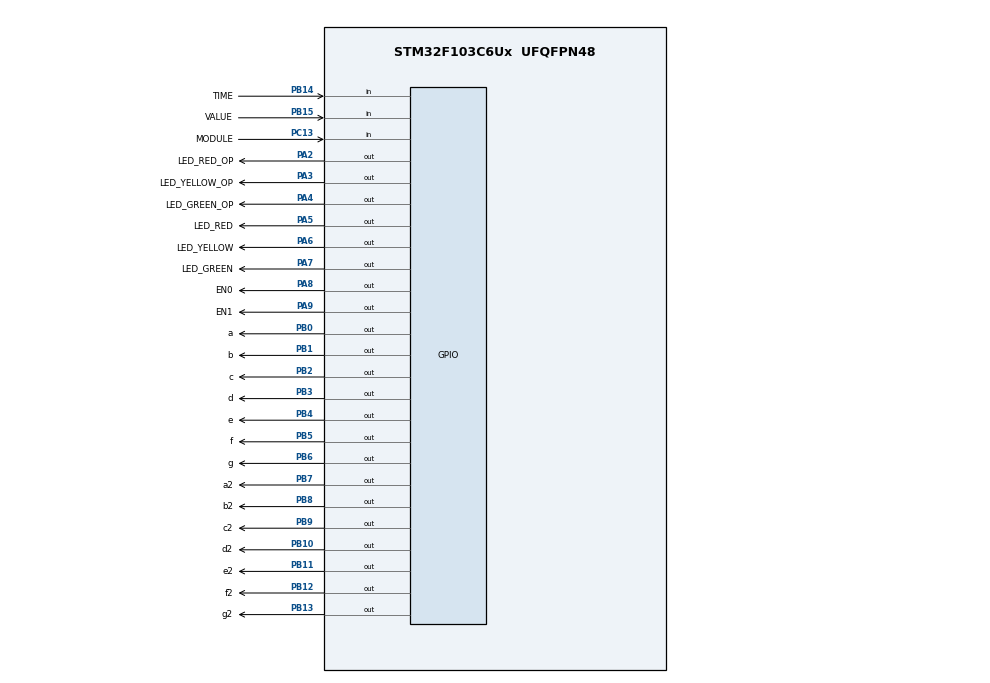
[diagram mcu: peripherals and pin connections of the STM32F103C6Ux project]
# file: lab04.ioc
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Mcu.Family=STM32F1
Mcu.Name=STM32F103C6Ux
Mcu.Package=UFQFPN48
NVIC.PriorityGroup=NVIC_PRIORITYGROUP_4
NVIC.TIM2_IRQn=true\:0\:0\:false\:false\:true\:true\:true\:true
PA2.GPIO_Label=LED_RED_OP
PA2.Signal=GPIO_Output
PA3.GPIO_Label=LED_YELLOW_OP
PA3.Signal=GPIO_Output
PA4.GPIO_Label=LED_GREEN_OP
PA4.Signal=GPIO_Output
PA5.GPIO_Label=LED_RED
PA5.Signal=GPIO_Output
PA6.GPIO_Label=LED_YELLOW
PA6.Signal=GPIO_Output
PA7.GPIO_Label=LED_GREEN
PA7.Signal=GPIO_Output
PA8.GPIO_Label=EN0
PA8.Signal=GPIO_Output
PA9.GPIO_Label=EN1
PA9.Signal=GPIO_Output
PB0.GPIO_Label=a
PB0.Signal=GPIO_Output
PB1.GPIO_Label=b
PB1.Signal=GPIO_Output
PB10.GPIO_Label=d2
PB10.Signal=GPIO_Output
PB11.GPIO_Label=e2
PB11.Signal=GPIO_Output
PB12.GPIO_Label=f2
PB12.Signal=GPIO_Output
PB13.GPIO_Label=g2
PB13.Signal=GPIO_Output
PB14.GPIO_Label=TIME
PB14.GPIO_PuPd=GPIO_PULLUP
PB14.Signal=GPIO_Input
PB15.GPIO_Label=VALUE
PB15.GPIO_PuPd=GPIO_PULLUP
PB15.Signal=GPIO_Input
PB2.GPIO_Label=c
PB2.Signal=GPIO_Output
PB3.GPIO_Label=d
PB3.Signal=GPIO_Output
PB4.GPIO_Label=e
PB4.Signal=GPIO_Output
PB5.GPIO_Label=f
PB5.Signal=GPIO_Output
PB6.GPIO_Label=g
PB6.Signal=GPIO_Output
PB7.GPIO_Label=a2
PB7.Signal=GPIO_Output
PB8.GPIO_Label=b2
PB8.Signal=GPIO_Output
PB9.GPIO_Label=c2
PB9.Signal=GPIO_Output
PC13-TAMPER-RTC.GPIO_Label=MODULE
PC13-TAMPER-RTC.GPIO_PuPd=GPIO_PULLUP
PC13-TAMPER-RTC.Signal=GPIO_Input
ProjectManager.HeapSize=0x200
ProjectManager.StackSize=0x400
ProjectManager.TargetToolchain=STM32CubeIDE
RCC.APB1Freq_Value=8000000
RCC.APB2Freq_Value=8000000
TIM2.Period=9
TIM2.Prescaler=7999
VP_SYS_VS_ND.Mode=No_Debug
VP_TIM2_VS_ClockSourceINT.Mode=Internal
board=custom

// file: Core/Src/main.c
/* USER CODE BEGIN Header */
/**
  ******************************************************************************
  * @file           : main.c
  * @brief          : Main program body
  ******************************************************************************
  * @attention
  *
  * Copyright (c) 2024 STMicroelectronics.
  * All rights reserved.
  *
  * This software is licensed under terms that can be found in the LICENSE file
  * in the root directory of this software component.
  * If no LICENSE file comes with this software, it is provided AS-IS.
  *
  ******************************************************************************
  */
/* USER CODE END Header */
#include "main.h"

/* USER CODE BEGIN Includes */
#include "software_timer.h"
#include "button.h"
#include "fsm_traffic_light.h"
#include "LED7SEG.h"
#include "schedular.h"

/* USER CODE END Includes */

TIM_HandleTypeDef htim2;

void SystemClock_Config(void);
static void MX_GPIO_Init(void);
static void MX_TIM2_Init(void);

/* USER CODE BEGIN 0 */
void task0(void) {
	updateClockBuffer();
	fsm_traffic_light_run();
}

void task1(void) {
	update7SEG(index_led);
	++index_led;
	if (index_led > 1) {
		index_led = 0;
	}
}

/* USER CODE END 0 */

int main(void)
{

  /* MCU Configuration--------------------------------------------------------*/

  /* Reset of all peripherals, Initializes the Flash interface and the Systick. */
  HAL_Init();

  /* Configure the system clock */
  SystemClock_Config();

  /* Initialize all configured peripherals */
  MX_GPIO_Init();
  MX_TIM2_Init();
  /* USER CODE BEGIN 2 */
  HAL_TIM_Base_Start_IT(&htim2);

  /* USER CODE END 2 */

  /* Infinite loop */
  /* USER CODE BEGIN WHILE */
  SCH_Add_Task(timerRun, 0, TICK);
  SCH_Add_Task(getKeyInput, 0, TICK);

  status = INIT;
  SCH_Add_Task(updateClockBuffer, 0, TICK);
  SCH_Add_Task(fsm_traffic_light_run, 0, TICK);
  SCH_Add_Task(task1, 0, 100);
  while (1)
  {
	  SCH_Dispatch_Tasks();
    /* USER CODE END WHILE */

  }
}

void SystemClock_Config(void)
{
  RCC_OscInitTypeDef RCC_OscInitStruct = {0};
  RCC_ClkInitTypeDef RCC_ClkInitStruct = {0};

  /** Initializes the RCC Oscillators according to the specified parameters
  * in the RCC_OscInitTypeDef structure.
  */
  RCC_OscInitStruct.OscillatorType = RCC_OSCILLATORTYPE_HSI;
  RCC_OscInitStruct.HSIState = RCC_HSI_ON;
  RCC_OscInitStruct.HSICalibrationValue = RCC_HSICALIBRATION_DEFAULT;
  RCC_OscInitStruct.PLL.PLLState = RCC_PLL_NONE;
  if (HAL_RCC_OscConfig(&RCC_OscInitStruct) != HAL_OK)
  {
    Error_Handler();
  }

  /** Initializes the CPU, AHB and APB buses clocks
  */
  RCC_ClkInitStruct.ClockType = RCC_CLOCKTYPE_HCLK|RCC_CLOCKTYPE_SYSCLK
                              |RCC_CLOCKTYPE_PCLK1|RCC_CLOCKTYPE_PCLK2;
  RCC_ClkInitStruct.SYSCLKSource = RCC_SYSCLKSOURCE_HSI;
  RCC_ClkInitStruct.AHBCLKDivider = RCC_SYSCLK_DIV1;
  RCC_ClkInitStruct.APB1CLKDivider = RCC_HCLK_DIV1;
  RCC_ClkInitStruct.APB2CLKDivider = RCC_HCLK_DIV1;

  if (HAL_RCC_ClockConfig(&RCC_ClkInitStruct, FLASH_LATENCY_0) != HAL_OK)
  {
    Error_Handler();
  }
}

static void MX_TIM2_Init(void)
{

  TIM_ClockConfigTypeDef sClockSourceConfig = {0};
  TIM_MasterConfigTypeDef sMasterConfig = {0};

  htim2.Instance = TIM2;
  htim2.Init.Prescaler = 7999;
  htim2.Init.CounterMode = TIM_COUNTERMODE_UP;
  htim2.Init.Period = 9;
  htim2.Init.ClockDivision = TIM_CLOCKDIVISION_DIV1;
  htim2.Init.AutoReloadPreload = TIM_AUTORELOAD_PRELOAD_DISABLE;
  if (HAL_TIM_Base_Init(&htim2) != HAL_OK)
  {
    Error_Handler();
  }
  sClockSourceConfig.ClockSource = TIM_CLOCKSOURCE_INTERNAL;
  if (HAL_TIM_ConfigClockSource(&htim2, &sClockSourceConfig) != HAL_OK)
  {
    Error_Handler();
  }
  sMasterConfig.MasterOutputTrigger = TIM_TRGO_RESET;
  sMasterConfig.MasterSlaveMode = TIM_MASTERSLAVEMODE_DISABLE;
  if (HAL_TIMEx_MasterConfigSynchronization(&htim2, &sMasterConfig) != HAL_OK)
  {
    Error_Handler();
  }

}

static void MX_GPIO_Init(void)
{
  GPIO_InitTypeDef GPIO_InitStruct = {0};

  /* GPIO Ports Clock Enable */
  __HAL_RCC_GPIOC_CLK_ENABLE();
  __HAL_RCC_GPIOA_CLK_ENABLE();
  __HAL_RCC_GPIOB_CLK_ENABLE();

  /*Configure GPIO pin Output Level */
  HAL_GPIO_WritePin(GPIOA, LED_RED_OP_Pin|LED_YELLOW_OP_Pin|LED_GREEN_OP_Pin|LED_RED_Pin
                          |LED_YELLOW_Pin|LED_GREEN_Pin|EN0_Pin|EN1_Pin, GPIO_PIN_RESET);

  /*Configure GPIO pin Output Level */
  HAL_GPIO_WritePin(GPIOB, a_Pin|b_Pin|c_Pin|d2_Pin
                          |e2_Pin|f2_Pin|g2_Pin|d_Pin
                          |e_Pin|f_Pin|g_Pin|a2_Pin
                          |b2_Pin|c2_Pin, GPIO_PIN_RESET);

  /*Configure GPIO pin : MODULE_Pin */
  GPIO_InitStruct.Pin = MODULE_Pin;
  GPIO_InitStruct.Mode = GPIO_MODE_INPUT;
  GPIO_InitStruct.Pull = GPIO_PULLUP;
  HAL_GPIO_Init(MODULE_GPIO_Port, &GPIO_InitStruct);

  /*Configure GPIO pins : LED_RED_OP_Pin LED_YELLOW_OP_Pin LED_GREEN_OP_Pin LED_RED_Pin
                           LED_YELLOW_Pin LED_GREEN_Pin EN0_Pin EN1_Pin */
  GPIO_InitStruct.Pin = LED_RED_OP_Pin|LED_YELLOW_OP_Pin|LED_GREEN_OP_Pin|LED_RED_Pin
                          |LED_YELLOW_Pin|LED_GREEN_Pin|EN0_Pin|EN1_Pin;
  GPIO_InitStruct.Mode = GPIO_MODE_OUTPUT_PP;
  GPIO_InitStruct.Pull = GPIO_NOPULL;
  GPIO_InitStruct.Speed = GPIO_SPEED_FREQ_LOW;
  HAL_GPIO_Init(GPIOA, &GPIO_InitStruct);

  /*Configure GPIO pins : a_Pin b_Pin c_Pin d2_Pin
                           e2_Pin f2_Pin g2_Pin d_Pin
                           e_Pin f_Pin g_Pin a2_Pin
                           b2_Pin c2_Pin */
  GPIO_InitStruct.Pin = a_Pin|b_Pin|c_Pin|d2_Pin
                          |e2_Pin|f2_Pin|g2_Pin|d_Pin
                          |e_Pin|f_Pin|g_Pin|a2_Pin
                          |b2_Pin|c2_Pin;
  GPIO_InitStruct.Mode = GPIO_MODE_OUTPUT_PP;
  GPIO_InitStruct.Pull = GPIO_NOPULL;
  GPIO_InitStruct.Speed = GPIO_SPEED_FREQ_LOW;
  HAL_GPIO_Init(GPIOB, &GPIO_InitStruct);

  /*Configure GPIO pins : TIME_Pin VALUE_Pin */
  GPIO_InitStruct.Pin = TIME_Pin|VALUE_Pin;
  GPIO_InitStruct.Mode = GPIO_MODE_INPUT;
  GPIO_InitStruct.Pull = GPIO_PULLUP;
  HAL_GPIO_Init(GPIOB, &GPIO_InitStruct);

}

/* USER CODE BEGIN 4 */
void HAL_TIM_PeriodElapsedCallback(TIM_HandleTypeDef *htim) {
	SCH_Update();
}

/* USER CODE END 4 */

void Error_Handler(void)
{
  __disable_irq();
  while (1)
  {
  }
}
